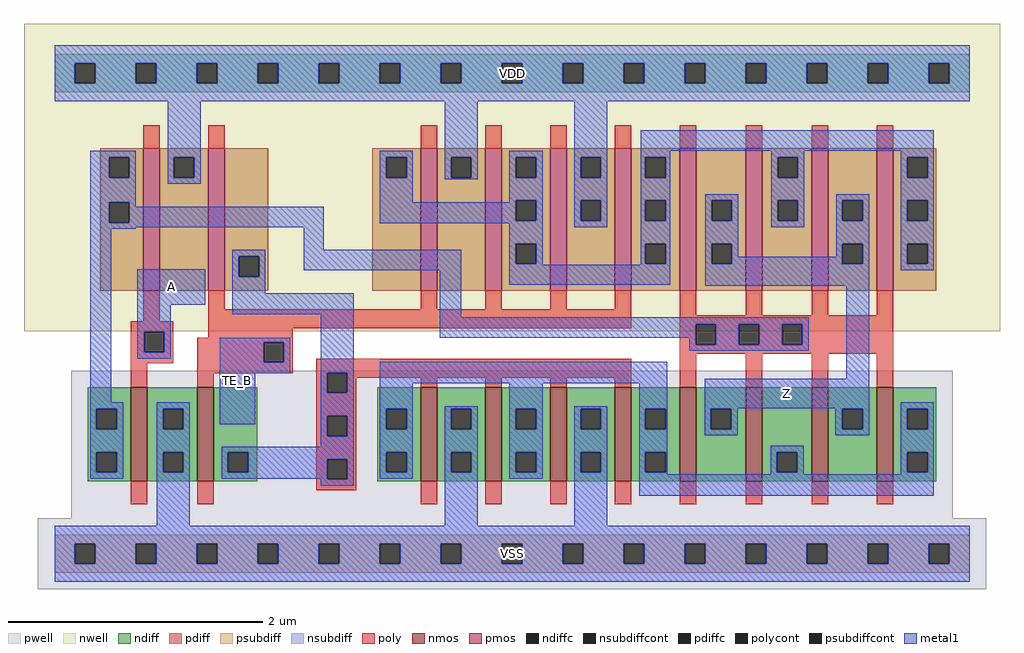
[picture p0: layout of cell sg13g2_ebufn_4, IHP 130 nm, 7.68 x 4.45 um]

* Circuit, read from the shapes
.subckt sg13g2_ebufn_4 A VDD VSS TE_B Z
XM1 VSS A n1 VSS sg13_lv_nmos w=0.74u l=0.13u
XM2 n2 TE_B VSS VSS sg13_lv_nmos w=0.74u l=0.13u
XM3 VSS n2 n3 VSS sg13_lv_nmos w=0.74u l=0.13u m=4
XM4 Z n1 n3 VSS sg13_lv_nmos w=0.74u l=0.13u m=4
XM5 VDD A n1 VDD sg13_lv_pmos w=1.12u l=0.13u
XM6 n2 TE_B VDD VDD sg13_lv_pmos w=1.12u l=0.13u
XM7 VDD TE_B n4 VDD sg13_lv_pmos w=1.12u l=0.13u m=4
XM8 Z n1 n4 VDD sg13_lv_pmos w=1.12u l=0.13u m=4
.ends

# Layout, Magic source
magic
tech ihp-sg13g2
magscale 1 2
<< nwell >>
rect -48 350 1488 834
<< pwell >>
rect 26 56 1414 288
rect -26 -56 1466 56
<< nmos >>
rect 120 114 146 262
rect 225 114 251 262
rect 576 114 602 262
rect 678 114 704 262
rect 780 114 806 262
rect 882 114 908 262
rect 984 114 1010 262
rect 1088 114 1114 262
rect 1192 114 1218 262
rect 1294 114 1320 262
<< pmos >>
rect 140 414 166 638
rect 242 414 268 638
rect 576 414 602 638
rect 678 414 704 638
rect 780 414 806 638
rect 882 414 908 638
rect 984 414 1010 638
rect 1088 414 1114 638
rect 1192 414 1218 638
rect 1294 414 1320 638
<< ndiff >>
rect 52 228 120 262
rect 52 196 66 228
rect 98 196 120 228
rect 52 160 120 196
rect 52 128 66 160
rect 98 128 120 160
rect 52 114 120 128
rect 146 228 225 262
rect 146 196 171 228
rect 203 196 225 228
rect 146 160 225 196
rect 146 128 171 160
rect 203 128 225 160
rect 146 114 225 128
rect 251 160 319 262
rect 251 128 273 160
rect 305 128 319 160
rect 251 114 319 128
rect 508 228 576 262
rect 508 196 522 228
rect 554 196 576 228
rect 508 160 576 196
rect 508 128 522 160
rect 554 128 576 160
rect 508 114 576 128
rect 602 228 678 262
rect 602 196 624 228
rect 656 196 678 228
rect 602 160 678 196
rect 602 128 624 160
rect 656 128 678 160
rect 602 114 678 128
rect 704 228 780 262
rect 704 196 726 228
rect 758 196 780 228
rect 704 160 780 196
rect 704 128 726 160
rect 758 128 780 160
rect 704 114 780 128
rect 806 228 882 262
rect 806 196 828 228
rect 860 196 882 228
rect 806 160 882 196
rect 806 128 828 160
rect 860 128 882 160
rect 806 114 882 128
rect 908 228 984 262
rect 908 196 930 228
rect 962 196 984 228
rect 908 160 984 196
rect 908 128 930 160
rect 962 128 984 160
rect 908 114 984 128
rect 1010 228 1088 262
rect 1010 196 1033 228
rect 1065 196 1088 228
rect 1010 114 1088 196
rect 1114 160 1192 262
rect 1114 128 1137 160
rect 1169 128 1192 160
rect 1114 114 1192 128
rect 1218 228 1294 262
rect 1218 196 1240 228
rect 1272 196 1294 228
rect 1218 114 1294 196
rect 1320 228 1388 262
rect 1320 196 1342 228
rect 1374 196 1388 228
rect 1320 160 1388 196
rect 1320 128 1342 160
rect 1374 128 1388 160
rect 1320 114 1388 128
<< pdiff >>
rect 72 624 140 638
rect 72 592 86 624
rect 118 592 140 624
rect 72 553 140 592
rect 72 521 86 553
rect 118 521 140 553
rect 72 414 140 521
rect 166 624 242 638
rect 166 592 188 624
rect 220 592 242 624
rect 166 414 242 592
rect 268 468 336 638
rect 268 436 290 468
rect 322 436 336 468
rect 268 414 336 436
rect 500 624 576 638
rect 500 592 522 624
rect 554 592 576 624
rect 500 414 576 592
rect 602 624 678 638
rect 602 592 624 624
rect 656 592 678 624
rect 602 414 678 592
rect 704 624 780 638
rect 704 592 726 624
rect 758 592 780 624
rect 704 556 780 592
rect 704 524 726 556
rect 758 524 780 556
rect 704 488 780 524
rect 704 456 726 488
rect 758 456 780 488
rect 704 414 780 456
rect 806 624 882 638
rect 806 592 828 624
rect 860 592 882 624
rect 806 556 882 592
rect 806 524 828 556
rect 860 524 882 556
rect 806 414 882 524
rect 908 624 984 638
rect 908 592 930 624
rect 962 592 984 624
rect 908 556 984 592
rect 908 524 930 556
rect 962 524 984 556
rect 908 488 984 524
rect 908 456 930 488
rect 962 456 984 488
rect 908 414 984 456
rect 1010 556 1088 638
rect 1010 524 1034 556
rect 1066 524 1088 556
rect 1010 488 1088 524
rect 1010 456 1034 488
rect 1066 456 1088 488
rect 1010 414 1088 456
rect 1114 624 1192 638
rect 1114 592 1138 624
rect 1170 592 1192 624
rect 1114 556 1192 592
rect 1114 524 1138 556
rect 1170 524 1192 556
rect 1114 414 1192 524
rect 1218 556 1294 638
rect 1218 524 1240 556
rect 1272 524 1294 556
rect 1218 488 1294 524
rect 1218 456 1240 488
rect 1272 456 1294 488
rect 1218 414 1294 456
rect 1320 624 1388 638
rect 1320 592 1342 624
rect 1374 592 1388 624
rect 1320 556 1388 592
rect 1320 524 1342 556
rect 1374 524 1388 556
rect 1320 488 1388 524
rect 1320 456 1342 488
rect 1374 456 1388 488
rect 1320 414 1388 456
<< ndiffc >>
rect 66 196 98 228
rect 66 128 98 160
rect 171 196 203 228
rect 171 128 203 160
rect 273 128 305 160
rect 522 196 554 228
rect 522 128 554 160
rect 624 196 656 228
rect 624 128 656 160
rect 726 196 758 228
rect 726 128 758 160
rect 828 196 860 228
rect 828 128 860 160
rect 930 196 962 228
rect 930 128 962 160
rect 1033 196 1065 228
rect 1137 128 1169 160
rect 1240 196 1272 228
rect 1342 196 1374 228
rect 1342 128 1374 160
<< pdiffc >>
rect 86 592 118 624
rect 86 521 118 553
rect 188 592 220 624
rect 290 436 322 468
rect 522 592 554 624
rect 624 592 656 624
rect 726 592 758 624
rect 726 524 758 556
rect 726 456 758 488
rect 828 592 860 624
rect 828 524 860 556
rect 930 592 962 624
rect 930 524 962 556
rect 930 456 962 488
rect 1034 524 1066 556
rect 1034 456 1066 488
rect 1138 592 1170 624
rect 1138 524 1170 556
rect 1240 524 1272 556
rect 1240 456 1272 488
rect 1342 592 1374 624
rect 1342 524 1374 556
rect 1342 456 1374 488
<< psubdiff >>
rect 0 16 1440 30
rect 0 -16 32 16
rect 64 -16 128 16
rect 160 -16 224 16
rect 256 -16 320 16
rect 352 -16 416 16
rect 448 -16 512 16
rect 544 -16 608 16
rect 640 -16 704 16
rect 736 -16 800 16
rect 832 -16 896 16
rect 928 -16 992 16
rect 1024 -16 1088 16
rect 1120 -16 1184 16
rect 1216 -16 1280 16
rect 1312 -16 1376 16
rect 1408 -16 1440 16
rect 0 -30 1440 -16
<< nsubdiff >>
rect 0 772 1440 786
rect 0 740 32 772
rect 64 740 128 772
rect 160 740 224 772
rect 256 740 320 772
rect 352 740 416 772
rect 448 740 512 772
rect 544 740 608 772
rect 640 740 704 772
rect 736 740 800 772
rect 832 740 896 772
rect 928 740 992 772
rect 1024 740 1088 772
rect 1120 740 1184 772
rect 1216 740 1280 772
rect 1312 740 1376 772
rect 1408 740 1440 772
rect 0 726 1440 740
<< psubdiffcont >>
rect 32 -16 64 16
rect 128 -16 160 16
rect 224 -16 256 16
rect 320 -16 352 16
rect 416 -16 448 16
rect 512 -16 544 16
rect 608 -16 640 16
rect 704 -16 736 16
rect 800 -16 832 16
rect 896 -16 928 16
rect 992 -16 1024 16
rect 1088 -16 1120 16
rect 1184 -16 1216 16
rect 1280 -16 1312 16
rect 1376 -16 1408 16
<< nsubdiffcont >>
rect 32 740 64 772
rect 128 740 160 772
rect 224 740 256 772
rect 320 740 352 772
rect 416 740 448 772
rect 512 740 544 772
rect 608 740 640 772
rect 704 740 736 772
rect 800 740 832 772
rect 896 740 928 772
rect 992 740 1024 772
rect 1088 740 1120 772
rect 1184 740 1216 772
rect 1280 740 1312 772
rect 1376 740 1408 772
<< poly >>
rect 140 638 166 674
rect 242 638 268 674
rect 576 638 602 674
rect 678 638 704 674
rect 780 638 806 674
rect 882 638 908 674
rect 984 638 1010 674
rect 1088 638 1114 674
rect 1192 638 1218 674
rect 1294 638 1320 674
rect 140 366 166 414
rect 242 385 268 414
rect 576 385 602 414
rect 678 385 704 414
rect 780 385 806 414
rect 882 385 908 414
rect 120 349 187 366
rect 120 317 141 349
rect 173 317 187 349
rect 242 355 908 385
rect 984 375 1010 414
rect 1088 375 1114 414
rect 1192 375 1218 414
rect 1294 375 1320 414
rect 984 361 1320 375
rect 242 340 375 355
rect 120 300 187 317
rect 225 333 375 340
rect 225 301 329 333
rect 361 301 375 333
rect 984 329 1009 361
rect 1041 329 1077 361
rect 1109 329 1145 361
rect 1177 329 1320 361
rect 984 315 1320 329
rect 120 262 146 300
rect 225 284 375 301
rect 412 285 908 307
rect 225 262 251 284
rect 412 253 429 285
rect 461 277 908 285
rect 461 253 475 277
rect 576 262 602 277
rect 678 262 704 277
rect 780 262 806 277
rect 882 262 908 277
rect 984 262 1010 315
rect 1088 262 1114 315
rect 1192 262 1218 315
rect 1294 262 1320 315
rect 412 217 475 253
rect 412 185 429 217
rect 461 185 475 217
rect 412 149 475 185
rect 412 117 429 149
rect 461 117 475 149
rect 120 78 146 114
rect 225 78 251 114
rect 412 100 475 117
rect 576 78 602 114
rect 678 78 704 114
rect 780 78 806 114
rect 882 78 908 114
rect 984 78 1010 114
rect 1088 78 1114 114
rect 1192 78 1218 114
rect 1294 78 1320 114
<< polycont >>
rect 141 317 173 349
rect 329 301 361 333
rect 1009 329 1041 361
rect 1077 329 1109 361
rect 1145 329 1177 361
rect 429 253 461 285
rect 429 185 461 217
rect 429 117 461 149
<< metal1 >>
rect 0 772 1440 800
rect 0 740 32 772
rect 64 740 128 772
rect 160 740 224 772
rect 256 740 320 772
rect 352 740 416 772
rect 448 740 512 772
rect 544 740 608 772
rect 640 740 704 772
rect 736 740 800 772
rect 832 740 896 772
rect 928 740 992 772
rect 1024 740 1088 772
rect 1120 740 1184 772
rect 1216 740 1280 772
rect 1312 740 1376 772
rect 1408 740 1440 772
rect 0 712 1440 740
rect 56 624 128 634
rect 56 592 86 624
rect 118 592 128 624
rect 56 553 128 592
rect 178 624 230 712
rect 178 592 188 624
rect 220 592 230 624
rect 178 582 230 592
rect 512 624 564 634
rect 512 592 522 624
rect 554 592 564 624
rect 56 521 86 553
rect 118 546 128 553
rect 512 553 564 592
rect 614 624 666 712
rect 614 592 624 624
rect 656 592 666 624
rect 614 589 666 592
rect 716 624 768 634
rect 716 592 726 624
rect 758 592 768 624
rect 716 556 768 592
rect 716 553 726 556
rect 118 521 424 546
rect 56 514 424 521
rect 512 524 726 553
rect 758 524 768 556
rect 512 520 768 524
rect 56 511 128 514
rect 56 238 89 511
rect 392 478 424 514
rect 716 488 768 520
rect 818 624 870 712
rect 818 592 828 624
rect 860 592 870 624
rect 818 556 870 592
rect 818 524 828 556
rect 860 524 870 556
rect 818 514 870 524
rect 923 634 1384 666
rect 923 624 969 634
rect 923 592 930 624
rect 962 592 969 624
rect 923 556 969 592
rect 1128 624 1180 634
rect 1128 592 1138 624
rect 1170 592 1180 624
rect 923 524 930 556
rect 962 524 969 556
rect 280 468 332 478
rect 130 392 237 448
rect 280 436 290 468
rect 322 436 332 468
rect 392 446 640 478
rect 280 410 332 436
rect 130 349 183 392
rect 280 377 471 410
rect 130 317 141 349
rect 173 317 183 349
rect 130 307 183 317
rect 260 333 371 340
rect 260 301 329 333
rect 361 301 371 333
rect 260 284 371 301
rect 419 285 471 377
rect 606 372 640 446
rect 716 456 726 488
rect 758 456 768 488
rect 716 455 768 456
rect 923 488 969 524
rect 923 456 930 488
rect 962 456 969 488
rect 923 455 969 456
rect 716 423 969 455
rect 1024 556 1076 566
rect 1024 524 1034 556
rect 1066 524 1076 556
rect 1024 488 1076 524
rect 1128 556 1180 592
rect 1332 624 1384 634
rect 1332 592 1342 624
rect 1374 592 1384 624
rect 1128 524 1138 556
rect 1170 524 1180 556
rect 1128 514 1180 524
rect 1230 556 1282 566
rect 1230 524 1240 556
rect 1272 524 1282 556
rect 1024 456 1034 488
rect 1066 467 1076 488
rect 1230 488 1282 524
rect 1230 467 1240 488
rect 1066 456 1240 467
rect 1272 456 1282 488
rect 1024 422 1282 456
rect 1332 556 1384 592
rect 1332 524 1342 556
rect 1374 524 1384 556
rect 1332 488 1384 524
rect 1332 456 1342 488
rect 1374 456 1384 488
rect 1332 446 1384 456
rect 606 361 1187 372
rect 606 340 1009 361
rect 999 329 1009 340
rect 1041 329 1077 361
rect 1109 329 1145 361
rect 1177 329 1187 361
rect 999 319 1187 329
rect 56 228 108 238
rect 56 196 66 228
rect 98 196 108 228
rect 56 160 108 196
rect 56 128 66 160
rect 98 128 108 160
rect 56 118 108 128
rect 161 228 213 238
rect 161 196 171 228
rect 203 196 213 228
rect 260 204 316 284
rect 419 253 429 285
rect 461 253 471 285
rect 419 217 471 253
rect 161 160 213 196
rect 419 185 429 217
rect 461 185 471 217
rect 419 168 471 185
rect 161 128 171 160
rect 203 128 213 160
rect 161 44 213 128
rect 263 160 471 168
rect 263 128 273 160
rect 305 149 471 160
rect 305 128 429 149
rect 263 118 429 128
rect 419 117 429 118
rect 461 117 471 149
rect 512 268 964 302
rect 1246 275 1282 422
rect 512 228 564 268
rect 512 196 522 228
rect 554 196 564 228
rect 512 160 564 196
rect 512 128 522 160
rect 554 128 564 160
rect 512 118 564 128
rect 614 228 666 232
rect 614 196 624 228
rect 656 196 666 228
rect 614 160 666 196
rect 614 128 624 160
rect 656 128 666 160
rect 419 107 471 117
rect 614 44 666 128
rect 716 228 768 268
rect 716 196 726 228
rect 758 196 768 228
rect 716 160 768 196
rect 716 128 726 160
rect 758 128 768 160
rect 716 118 768 128
rect 818 228 870 232
rect 818 196 828 228
rect 860 196 870 228
rect 818 160 870 196
rect 818 128 828 160
rect 860 128 870 160
rect 818 44 870 128
rect 920 228 964 268
rect 920 196 930 228
rect 962 196 964 228
rect 920 160 964 196
rect 1023 229 1282 275
rect 1023 228 1075 229
rect 1023 196 1033 228
rect 1065 196 1075 228
rect 1023 186 1075 196
rect 1229 228 1282 229
rect 1229 196 1240 228
rect 1272 196 1282 228
rect 1229 186 1282 196
rect 1332 228 1384 238
rect 1332 196 1342 228
rect 1374 196 1384 228
rect 920 128 930 160
rect 962 128 964 160
rect 920 125 964 128
rect 1127 160 1179 170
rect 1127 128 1137 160
rect 1169 128 1179 160
rect 1127 125 1179 128
rect 1332 160 1384 196
rect 1332 128 1342 160
rect 1374 128 1384 160
rect 1332 125 1384 128
rect 920 91 1384 125
rect 0 16 1440 44
rect 0 -16 32 16
rect 64 -16 128 16
rect 160 -16 224 16
rect 256 -16 320 16
rect 352 -16 416 16
rect 448 -16 512 16
rect 544 -16 608 16
rect 640 -16 704 16
rect 736 -16 800 16
rect 832 -16 896 16
rect 928 -16 992 16
rect 1024 -16 1088 16
rect 1120 -16 1184 16
rect 1216 -16 1280 16
rect 1312 -16 1376 16
rect 1408 -16 1440 16
rect 0 -44 1440 -16
<< labels >>
flabel metal1 s 130 392 237 448 0 FreeSans 400 0 0 0 A
port 2 nsew
flabel metal1 s 0 712 1440 800 0 FreeSans 400 0 0 0 VDD
port 3 nsew
flabel metal1 s 0 -44 1440 44 0 FreeSans 400 0 0 0 VSS
port 4 nsew
flabel metal1 s 260 204 316 340 0 FreeSans 400 0 0 0 TE_B
port 5 nsew
flabel metal1 s 1023 229 1282 275 0 FreeSans 400 0 0 0 Z
port 6 nsew
<< properties >>
string FIXED_BBOX 0 0 1440 756
<< end >>
